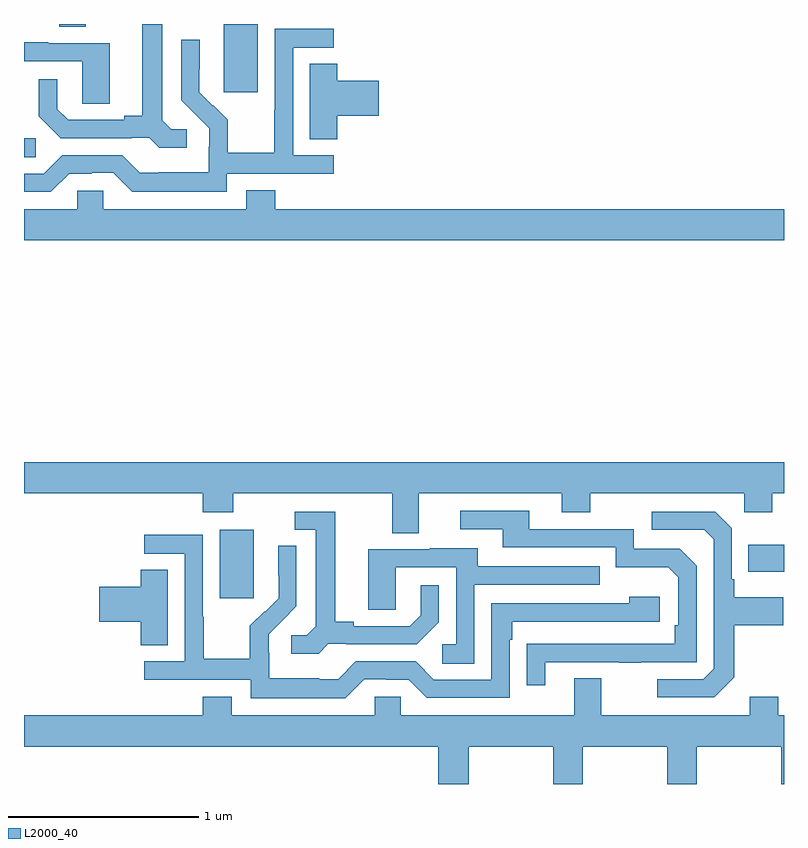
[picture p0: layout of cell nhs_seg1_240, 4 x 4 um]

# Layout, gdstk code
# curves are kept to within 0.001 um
import gdstk
lib = gdstk.Library(unit=1e-6, precision=1e-09)
def R(c, l, rs):  # rectangles x0, y0, x1, y1
    for r in rs: c.add(gdstk.rectangle(r[:2], r[2:], *l))
def P(c, l, *ps):  # polygons
    for p in ps: c.add(gdstk.Polygon(p, *l))
L2000_40 = (2000, 40)

nhs_seg1_240 = lib.new_cell('nhs_seg1_240')
R(nhs_seg1_240, L2000_40, [(124.031,555.177,124.21,555.538), (126.811,555.317,127,555.457), (123,557.497,123.061,557.598), (124.052,557.841,124.231,558.199), (123.185,558.184,123.325,558.199)])
P(nhs_seg1_240, L2000_40, [(123.856,557.646),(123.774,557.646),(123.727,557.693),(123.727,558.199),(123.623,558.199),(123.623,557.717),(123.527,557.717),(123.527,557.694),(123.232,557.694),(123.175,557.751),(123.175,557.908),(123.078,557.908),(123.078,557.714),(123.194,557.598),(123.566,557.598),(123.566,557.601),(123.66,557.601),(123.712,557.549),(123.856,557.549)],
  [(124.068,557.412),(124.63,557.412),(124.63,557.508),(124.416,557.508),(124.416,558.075),(124.63,558.075),(124.63,558.174),(124.32,558.174),(124.32,557.744),(124.318,557.744),(124.318,557.521),(124.073,557.521),(124.073,557.695),(123.996,557.772),(123.993,557.769),(123.923,557.84),(123.924,558.116),(123.828,558.116),(123.828,557.798),(123.974,557.65),(123.974,557.553),(123.972,557.553),(123.972,557.419),(123.709,557.419),(123.709,557.415),(123.609,557.415),(123.516,557.508),(123.201,557.508),(123.105,557.412),(123,557.412),(123,557.316),(123.141,557.316),(123.237,557.412),(123.356,557.412),(123.356,557.415),(123.471,557.415),(123.571,557.315),(124.068,557.315)],
  [(123.451,558.099),(123.127,558.099),(123.127,558.103),(123,558.103),(123,558.003),(123.306,558.003),(123.306,557.779),(123.451,557.779)],
  [(124.649,557.717),(124.867,557.717),(124.867,557.9),(124.649,557.9),(124.649,557.99),(124.505,557.99),(124.505,557.593),(124.649,557.593)],
  [(127,557.224),(124.322,557.224),(124.322,557.323),(124.169,557.323),(124.169,557.224),(123.417,557.224),(123.417,557.322),(123.279,557.322),(123.279,557.224),(123,557.224),(123,557.06),(127,557.06)],
  [(125.077,555.728),(125.831,555.728),(125.831,555.629),(125.979,555.629),(125.979,555.728),(126.792,555.728),(126.792,555.629),(126.939,555.629),(126.939,555.728),(127,555.728),(127,555.892),(123,555.892),(123,555.728),(123.941,555.728),(123.941,555.629),(124.101,555.629),(124.101,555.728),(124.937,555.728),(124.937,555.52),(125.077,555.52)],
  [(125.743,554.841),(126.133,554.841),(126.133,554.836),(126.245,554.836),(126.245,554.841),(126.54,554.841),(126.54,555.348),(126.45,555.438),(126.21,555.438),(126.21,555.54),(125.659,555.54),(125.659,555.636),(125.295,555.636),(125.295,555.54),(125.519,555.54),(125.519,555.444),(126.114,555.444),(126.114,555.341),(126.391,555.341),(126.444,555.288),(126.444,555.034),(126.424,555.034),(126.424,554.937),(125.647,554.936),(125.647,554.718),(125.743,554.718)],
  [(124.602,554.937),(124.696,554.937),(124.696,554.934),(125.068,554.934),(125.184,555.05),(125.184,555.244),(125.087,555.244),(125.087,555.087),(125.03,555.03),(124.735,555.03),(124.735,555.053),(124.639,555.053),(124.639,555.633),(124.425,555.633),(124.425,555.537),(124.535,555.537),(124.535,555.029),(124.488,554.982),(124.407,554.982),(124.407,554.885),(124.55,554.885)],
  [(126.739,554.761),(126.739,555.034),(126.995,555.034),(126.995,555.181),(126.739,555.181),(126.739,555.277),(126.726,555.277),(126.726,555.546),(126.639,555.633),(126.303,555.633),(126.303,555.537),(126.579,555.537),(126.63,555.486),(126.63,554.805),(126.576,554.751),(126.333,554.751),(126.333,554.655),(126.633,554.655)],
  [(124.791,554.751),(124.907,554.751),(124.907,554.748),(125.025,554.748),(125.121,554.652),(125.556,554.652),(125.556,554.957),(125.569,554.957),(125.569,555.054),(126.346,555.054),(126.346,555.184),(126.185,555.184),(126.185,555.15),(125.46,555.15),(125.46,554.748),(125.157,554.748),(125.061,554.844),(124.746,554.844),(124.653,554.751),(124.553,554.751),(124.553,554.755),(124.29,554.755),(124.29,554.889),(124.288,554.889),(124.288,554.986),(124.434,555.134),(124.434,555.452),(124.338,555.452),(124.338,555.298),(124.34,555.298),(124.34,555.176),(124.269,555.105),(124.266,555.108),(124.189,555.031),(124.189,554.857),(123.945,554.857),(123.945,555.08),(123.942,555.08),(123.942,555.51),(123.633,555.51),(123.633,555.411),(123.846,555.411),(123.846,554.844),(123.633,554.844),(123.633,554.748),(124.194,554.748),(124.194,554.651),(124.691,554.651)],
  [(125.37,555.249),(126.029,555.249),(126.029,555.345),(125.389,555.345),(125.389,555.439),(125.135,555.439),(125.135,555.435),(124.811,555.435),(124.811,555.115),(124.956,555.115),(124.956,555.339),(125.274,555.339),(125.274,554.934),(125.202,554.934),(125.202,554.833),(125.37,554.833)],
  [(123.757,555.326),(123.614,555.326),(123.614,555.236),(123.396,555.236),(123.396,555.053),(123.614,555.053),(123.614,554.929),(123.757,554.929)],
  [(125.34,554.396),(125.785,554.396),(125.785,554.199),(125.94,554.199),(125.94,554.396),(126.385,554.396),(126.385,554.199),(126.54,554.199),(126.54,554.396),(126.985,554.396),(126.985,554.199),(127,554.199),(127,554.56),(126.969,554.56),(126.969,554.659),(126.821,554.659),(126.821,554.56),(126.037,554.56),(126.037,554.755),(125.897,554.755),(125.897,554.56),(124.983,554.56),(124.983,554.658),(124.845,554.658),(124.845,554.56),(124.093,554.56),(124.093,554.659),(123.941,554.659),(123.941,554.56),(123,554.56),(123,554.396),(125.18,554.396),(125.18,554.199),(125.34,554.199)])

lib.write_gds('nhs_seg1_240.gds')
